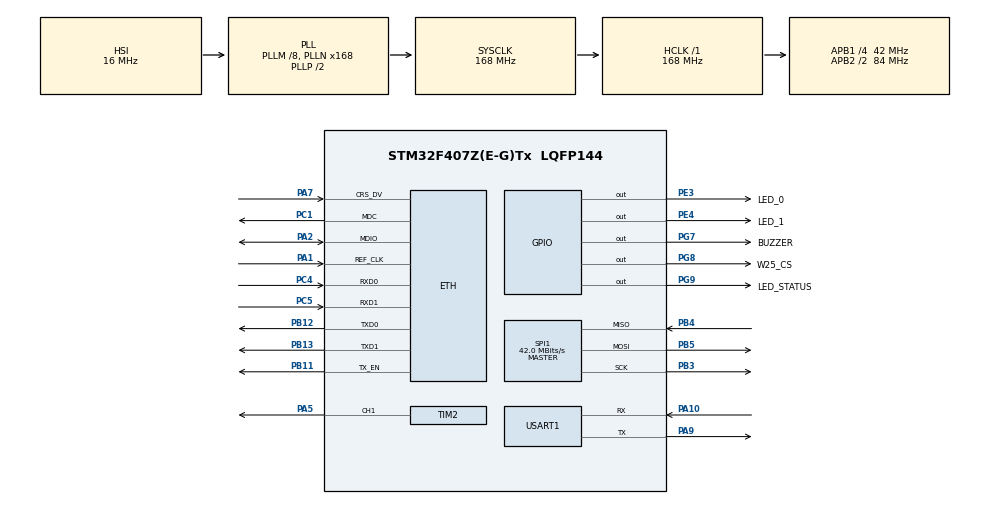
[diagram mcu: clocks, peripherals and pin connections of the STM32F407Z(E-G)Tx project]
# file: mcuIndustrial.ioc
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Dma.Request0=USART1_RX
Dma.USART1_RX.0.Direction=DMA_PERIPH_TO_MEMORY
Dma.USART1_RX.0.FIFOMode=DMA_FIFOMODE_DISABLE
Dma.USART1_RX.0.Instance=DMA2_Stream2
Dma.USART1_RX.0.MemDataAlignment=DMA_MDATAALIGN_BYTE
Dma.USART1_RX.0.MemInc=DMA_MINC_ENABLE
Dma.USART1_RX.0.Mode=DMA_NORMAL
Dma.USART1_RX.0.PeriphDataAlignment=DMA_PDATAALIGN_BYTE
Dma.USART1_RX.0.PeriphInc=DMA_PINC_DISABLE
Dma.USART1_RX.0.Priority=DMA_PRIORITY_LOW
ETH.MediaInterface=HAL_ETH_RMII_MODE
FREERTOS.Tasks01=defaultTask,24,128,StartDefaultTask,Default,NULL,Dynamic,NULL,NULL
FREERTOS.configTOTAL_HEAP_SIZE=15360 
FREERTOS.configUSE_NEWLIB_REENTRANT=1
Mcu.Family=STM32F4
Mcu.Name=STM32F407Z(E-G)Tx
Mcu.Package=LQFP144
NVIC.DMA2_Stream2_IRQn=true\:5\:0\:false\:false\:true\:true\:false\:true\:true
NVIC.ETH_IRQn=true\:5\:0\:false\:false\:true\:true\:true\:true\:true
NVIC.PriorityGroup=NVIC_PRIORITYGROUP_4
NVIC.TIM7_IRQn=true\:15\:0\:true\:false\:true\:false\:false\:true\:true
NVIC.TimeBase=TIM7_IRQn
NVIC.TimeBaseIP=TIM7
NVIC.USART1_IRQn=true\:5\:0\:false\:false\:true\:true\:true\:true\:true
PA0-WKUP.Mode=SYS_WakeUp0
PA0-WKUP.Signal=SYS_WKUP
PA1.Mode=RMII
PA1.Signal=ETH_REF_CLK
PA10.Mode=Asynchronous
PA10.Signal=USART1_RX
PA13.Mode=Serial_Wire
PA13.Signal=SYS_JTMS-SWDIO
PA14.Mode=Serial_Wire
PA14.Signal=SYS_JTCK-SWCLK
PA2.Mode=RMII
PA2.Signal=ETH_MDIO
PA5.Signal=S_TIM2_CH1_ETR
PA7.Mode=RMII
PA7.Signal=ETH_CRS_DV
PA9.Mode=Asynchronous
PA9.Signal=USART1_TX
PB11.Mode=RMII
PB11.Signal=ETH_TX_EN
PB12.Mode=RMII
PB12.Signal=ETH_TXD0
PB13.Mode=RMII
PB13.Signal=ETH_TXD1
PB3.Mode=Full_Duplex_Master
PB3.Signal=SPI1_SCK
PB4.Mode=Full_Duplex_Master
PB4.Signal=SPI1_MISO
PB5.Mode=Full_Duplex_Master
PB5.Signal=SPI1_MOSI
PC1.Mode=RMII
PC1.Signal=ETH_MDC
PC14-OSC32_IN.Mode=LSE-External-Oscillator
PC14-OSC32_IN.Signal=RCC_OSC32_IN
PC15-OSC32_OUT.Mode=LSE-External-Oscillator
PC15-OSC32_OUT.Signal=RCC_OSC32_OUT
PC4.Mode=RMII
PC4.Signal=ETH_RXD0
PC5.Mode=RMII
PC5.Signal=ETH_RXD1
PE3.GPIO_Label=LED_0
PE3.Signal=GPIO_Output
PE4.GPIO_Label=LED_1
PE4.Signal=GPIO_Output
PG7.GPIO_Label=BUZZER
PG7.Signal=GPIO_Output
PG8.GPIO_Label=W25_CS
PG8.Signal=GPIO_Output
PG9.GPIO_Label=LED_STATUS
PG9.Signal=GPIO_Output
ProjectManager.HeapSize=0x200
ProjectManager.StackSize=0x400
ProjectManager.TargetToolchain=STM32CubeIDE
RCC.48MHZClocksFreq_Value=84000000
RCC.AHBFreq_Value=168000000
RCC.APB1CLKDivider=RCC_HCLK_DIV4
RCC.APB1Freq_Value=42000000
RCC.APB1TimFreq_Value=84000000
RCC.APB2CLKDivider=RCC_HCLK_DIV2
RCC.APB2Freq_Value=84000000
RCC.APB2TimFreq_Value=168000000
RCC.CortexFreq_Value=168000000
RCC.HCLKFreq_Value=168000000
RCC.HSE_VALUE=26000000
RCC.HSI_VALUE=16000000
RCC.PLLM=8
RCC.PLLN=168
RCC.RCC_RTC_Clock_SourceVirtual=RCC_RTCCLKSOURCE_LSE
RCC.SYSCLKFreq_VALUE=168000000
RCC.SYSCLKSource=RCC_SYSCLKSOURCE_PLLCLK
RCC.VCOOutputFreq_Value=336000000
RTC.Date=12
RTC.Format=RTC_FORMAT_BIN
RTC.Month=RTC_MONTH_MAY
RTC.WeekDay=RTC_WEEKDAY_TUESDAY
RTC.Year=26
SH.S_TIM2_CH1_ETR.0=TIM2_CH1,PWM Generation1 CH1
SPI1.BaudRatePrescaler=SPI_BAUDRATEPRESCALER_2
SPI1.CalculateBaudRate=42.0 MBits/s
SPI1.Direction=SPI_DIRECTION_2LINES
SPI1.Mode=SPI_MODE_MASTER
SPI1.VirtualType=VM_MASTER
TIM2.Channel-PWM\ Generation1\ CH1=TIM_CHANNEL_1
USART1.VirtualMode=VM_ASYNC
VP_CRC_VS_CRC.Mode=CRC_Activate
VP_FREERTOS_VS_CMSIS_V2.Mode=CMSIS_V2
VP_RTC_VS_RTC_Activate.Mode=RTC_Enabled
VP_RTC_VS_RTC_Calendar.Mode=RTC_Calendar
VP_SYS_VS_tim7.Mode=TIM7
VP_TIM2_VS_ClockSourceINT.Mode=Internal
board=custom

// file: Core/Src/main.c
/* USER CODE BEGIN Header */
/**
  ******************************************************************************
  * @file           : main.c
  * @brief          : Main program body
  ******************************************************************************
  * @attention
  *
  * Copyright (c) 2026 STMicroelectronics.
  * All rights reserved.
  *
  * This software is licensed under terms that can be found in the LICENSE file
  * in the root directory of this software component.
  * If no LICENSE file comes with this software, it is provided AS-IS.
  *
  ******************************************************************************
  */
/* USER CODE END Header */
#include "main.h"
#include "string.h"
#include "cmsis_os.h"

/* USER CODE BEGIN Includes */

#include "stdio.h"

#include "srv/serial/inc/srv_serial.h"
#include "srv/heartbeat/inc/heartbeat.h"
#include "srv/littleFs/srv_lfs.h"

#include "app/bootloader/inc/bootloader.h"

/* USER CODE END Includes */

ETH_TxPacketConfig TxConfig;
ETH_DMADescTypeDef  DMARxDscrTab[ETH_RX_DESC_CNT]; /* Ethernet Rx DMA Descriptors */
ETH_DMADescTypeDef  DMATxDscrTab[ETH_TX_DESC_CNT]; /* Ethernet Tx DMA Descriptors */

CRC_HandleTypeDef hcrc;

ETH_HandleTypeDef heth;

RTC_HandleTypeDef hrtc;

SPI_HandleTypeDef hspi1;

TIM_HandleTypeDef htim2;

UART_HandleTypeDef huart1;
DMA_HandleTypeDef hdma_usart1_rx;

/* Definitions for defaultTask */
osThreadId_t defaultTaskHandle;
const osThreadAttr_t defaultTask_attributes = {
  .name = "defaultTask",
  .stack_size = 128 * 4,
  .priority = (osPriority_t) osPriorityNormal,
};
/* USER CODE BEGIN PV */

uint8_t aShowTime[50] = {0};
uint8_t aShowDate[50] = {0};

/* USER CODE END PV */

void SystemClock_Config(void);
static void MX_GPIO_Init(void);
static void MX_DMA_Init(void);
static void MX_USART1_UART_Init(void);
static void MX_RTC_Init(void);
static void MX_SPI1_Init(void);
static void MX_CRC_Init(void);
static void MX_TIM2_Init(void);
static void MX_ETH_Init(void);
void StartDefaultTask(void *argument);

/* USER CODE BEGIN PFP */

static void RTC_CalendarShow(uint8_t *showtime, uint8_t *showdate);

/* USER CODE END PFP */

int main(void)
{

  /* MCU Configuration--------------------------------------------------------*/

  /* Reset of all peripherals, Initializes the Flash interface and the Systick. */
  HAL_Init();

  /* Configure the system clock */
  SystemClock_Config();

  /* Initialize all configured peripherals */
  MX_GPIO_Init();
  MX_DMA_Init();
  MX_USART1_UART_Init();
  MX_RTC_Init();
  MX_SPI1_Init();
  MX_CRC_Init();
  MX_TIM2_Init();
  MX_ETH_Init();

  /* Init scheduler */
  osKernelInitialize();

  /* Create the thread(s) */
  /* creation of defaultTask */
  defaultTaskHandle = osThreadNew(StartDefaultTask, NULL, &defaultTask_attributes);

  /* USER CODE BEGIN RTOS_EVENTS */
  /* add events, ... */
  printf("=========== Start firmware ===============\r\n");
  srv_heartbeat_create();
  srv_littleFs_create();
  srv_serial_create();
  app_bootloader_create();

  /* USER CODE END RTOS_EVENTS */

  /* Start scheduler */
  osKernelStart();

  /* We should never get here as control is now taken by the scheduler */

  /* Infinite loop */
  while (1)
  {

    /* USER CODE BEGIN 3 */
	  HAL_GPIO_TogglePin(LED_0_GPIO_Port, LED_0_Pin);
	  HAL_GPIO_TogglePin(LED_1_GPIO_Port, LED_1_Pin);
	  HAL_Delay(500);

  }
  /* USER CODE END 3 */
}

void SystemClock_Config(void)
{
  RCC_OscInitTypeDef RCC_OscInitStruct = {0};
  RCC_ClkInitTypeDef RCC_ClkInitStruct = {0};

  /** Configure the main internal regulator output voltage
  */
  __HAL_RCC_PWR_CLK_ENABLE();
  __HAL_PWR_VOLTAGESCALING_CONFIG(PWR_REGULATOR_VOLTAGE_SCALE1);

  /** Initializes the RCC Oscillators according to the specified parameters
  * in the RCC_OscInitTypeDef structure.
  */
  RCC_OscInitStruct.OscillatorType = RCC_OSCILLATORTYPE_HSI|RCC_OSCILLATORTYPE_LSE;
  RCC_OscInitStruct.LSEState = RCC_LSE_ON;
  RCC_OscInitStruct.HSIState = RCC_HSI_ON;
  RCC_OscInitStruct.HSICalibrationValue = RCC_HSICALIBRATION_DEFAULT;
  RCC_OscInitStruct.PLL.PLLState = RCC_PLL_ON;
  RCC_OscInitStruct.PLL.PLLSource = RCC_PLLSOURCE_HSI;
  RCC_OscInitStruct.PLL.PLLM = 8;
  RCC_OscInitStruct.PLL.PLLN = 168;
  RCC_OscInitStruct.PLL.PLLP = RCC_PLLP_DIV2;
  RCC_OscInitStruct.PLL.PLLQ = 4;
  if (HAL_RCC_OscConfig(&RCC_OscInitStruct) != HAL_OK)
  {
    Error_Handler();
  }

  /** Initializes the CPU, AHB and APB buses clocks
  */
  RCC_ClkInitStruct.ClockType = RCC_CLOCKTYPE_HCLK|RCC_CLOCKTYPE_SYSCLK
                              |RCC_CLOCKTYPE_PCLK1|RCC_CLOCKTYPE_PCLK2;
  RCC_ClkInitStruct.SYSCLKSource = RCC_SYSCLKSOURCE_PLLCLK;
  RCC_ClkInitStruct.AHBCLKDivider = RCC_SYSCLK_DIV1;
  RCC_ClkInitStruct.APB1CLKDivider = RCC_HCLK_DIV4;
  RCC_ClkInitStruct.APB2CLKDivider = RCC_HCLK_DIV2;

  if (HAL_RCC_ClockConfig(&RCC_ClkInitStruct, FLASH_LATENCY_5) != HAL_OK)
  {
    Error_Handler();
  }
}

static void MX_CRC_Init(void)
{

  hcrc.Instance = CRC;
  if (HAL_CRC_Init(&hcrc) != HAL_OK)
  {
    Error_Handler();
  }

}

static void MX_ETH_Init(void)
{

   static uint8_t MACAddr[6];

  heth.Instance = ETH;
  MACAddr[0] = 0x00;
  MACAddr[1] = 0x80;
  MACAddr[2] = 0xE1;
  MACAddr[3] = 0x00;
  MACAddr[4] = 0x00;
  MACAddr[5] = 0x00;
  heth.Init.MACAddr = &MACAddr[0];
  heth.Init.MediaInterface = HAL_ETH_RMII_MODE;
  heth.Init.TxDesc = DMATxDscrTab;
  heth.Init.RxDesc = DMARxDscrTab;
  heth.Init.RxBuffLen = 1524;

  if (HAL_ETH_Init(&heth) != HAL_OK)
  {
    Error_Handler();
  }

  memset(&TxConfig, 0 , sizeof(ETH_TxPacketConfig));
  TxConfig.Attributes = ETH_TX_PACKETS_FEATURES_CSUM | ETH_TX_PACKETS_FEATURES_CRCPAD;
  TxConfig.ChecksumCtrl = ETH_CHECKSUM_IPHDR_PAYLOAD_INSERT_PHDR_CALC;
  TxConfig.CRCPadCtrl = ETH_CRC_PAD_INSERT;

}

static void MX_RTC_Init(void)
{

  RTC_TimeTypeDef sTime = {0};
  RTC_DateTypeDef sDate = {0};

  /** Initialize RTC Only
  */
  hrtc.Instance = RTC;
  hrtc.Init.HourFormat = RTC_HOURFORMAT_24;
  hrtc.Init.AsynchPrediv = 127;
  hrtc.Init.SynchPrediv = 255;
  hrtc.Init.OutPut = RTC_OUTPUT_DISABLE;
  hrtc.Init.OutPutPolarity = RTC_OUTPUT_POLARITY_HIGH;
  hrtc.Init.OutPutType = RTC_OUTPUT_TYPE_OPENDRAIN;
  if (HAL_RTC_Init(&hrtc) != HAL_OK)
  {
    Error_Handler();
  }

  /** Initialize RTC and set the Time and Date
  */
  sTime.Hours = 0;
  sTime.Minutes = 0;
  sTime.Seconds = 0;
  sTime.DayLightSaving = RTC_DAYLIGHTSAVING_NONE;
  sTime.StoreOperation = RTC_STOREOPERATION_RESET;
  if (HAL_RTC_SetTime(&hrtc, &sTime, RTC_FORMAT_BIN) != HAL_OK)
  {
    Error_Handler();
  }
  sDate.WeekDay = RTC_WEEKDAY_TUESDAY;
  sDate.Month = RTC_MONTH_MAY;
  sDate.Date = 12;
  sDate.Year = 26;

  if (HAL_RTC_SetDate(&hrtc, &sDate, RTC_FORMAT_BIN) != HAL_OK)
  {
    Error_Handler();
  }
  /* USER CODE BEGIN RTC_Init 2 */
  HAL_RTCEx_BKUPWrite(&hrtc, RTC_BKP_DR1, 0x32F2);

  if(HAL_RTCEx_BKUPRead(&hrtc, RTC_BKP_DR1) != 0x32F2)
  {
    /* Configure RTC Calendar */
//    RTC_CalendarConfig();
  }

  /* USER CODE END RTC_Init 2 */

}

static void MX_SPI1_Init(void)
{

  /* SPI1 parameter configuration*/
  hspi1.Instance = SPI1;
  hspi1.Init.Mode = SPI_MODE_MASTER;
  hspi1.Init.Direction = SPI_DIRECTION_2LINES;
  hspi1.Init.DataSize = SPI_DATASIZE_8BIT;
  hspi1.Init.CLKPolarity = SPI_POLARITY_LOW;
  hspi1.Init.CLKPhase = SPI_PHASE_1EDGE;
  hspi1.Init.NSS = SPI_NSS_SOFT;
  hspi1.Init.BaudRatePrescaler = SPI_BAUDRATEPRESCALER_2;
  hspi1.Init.FirstBit = SPI_FIRSTBIT_MSB;
  hspi1.Init.TIMode = SPI_TIMODE_DISABLE;
  hspi1.Init.CRCCalculation = SPI_CRCCALCULATION_DISABLE;
  hspi1.Init.CRCPolynomial = 10;
  if (HAL_SPI_Init(&hspi1) != HAL_OK)
  {
    Error_Handler();
  }

}

static void MX_TIM2_Init(void)
{

  TIM_ClockConfigTypeDef sClockSourceConfig = {0};
  TIM_MasterConfigTypeDef sMasterConfig = {0};
  TIM_OC_InitTypeDef sConfigOC = {0};

  htim2.Instance = TIM2;
  htim2.Init.Prescaler = 0;
  htim2.Init.CounterMode = TIM_COUNTERMODE_UP;
  htim2.Init.Period = 4294967295;
  htim2.Init.ClockDivision = TIM_CLOCKDIVISION_DIV1;
  htim2.Init.AutoReloadPreload = TIM_AUTORELOAD_PRELOAD_DISABLE;
  if (HAL_TIM_Base_Init(&htim2) != HAL_OK)
  {
    Error_Handler();
  }
  sClockSourceConfig.ClockSource = TIM_CLOCKSOURCE_INTERNAL;
  if (HAL_TIM_ConfigClockSource(&htim2, &sClockSourceConfig) != HAL_OK)
  {
    Error_Handler();
  }
  if (HAL_TIM_PWM_Init(&htim2) != HAL_OK)
  {
    Error_Handler();
  }
  sMasterConfig.MasterOutputTrigger = TIM_TRGO_RESET;
  sMasterConfig.MasterSlaveMode = TIM_MASTERSLAVEMODE_DISABLE;
  if (HAL_TIMEx_MasterConfigSynchronization(&htim2, &sMasterConfig) != HAL_OK)
  {
    Error_Handler();
  }
  sConfigOC.OCMode = TIM_OCMODE_PWM1;
  sConfigOC.Pulse = 0;
  sConfigOC.OCPolarity = TIM_OCPOLARITY_HIGH;
  sConfigOC.OCFastMode = TIM_OCFAST_DISABLE;
  if (HAL_TIM_PWM_ConfigChannel(&htim2, &sConfigOC, TIM_CHANNEL_1) != HAL_OK)
  {
    Error_Handler();
  }
  HAL_TIM_MspPostInit(&htim2);

}

static void MX_USART1_UART_Init(void)
{

  huart1.Instance = USART1;
  huart1.Init.BaudRate = 115200;
  huart1.Init.WordLength = UART_WORDLENGTH_8B;
  huart1.Init.StopBits = UART_STOPBITS_1;
  huart1.Init.Parity = UART_PARITY_NONE;
  huart1.Init.Mode = UART_MODE_TX_RX;
  huart1.Init.HwFlowCtl = UART_HWCONTROL_NONE;
  huart1.Init.OverSampling = UART_OVERSAMPLING_16;
  if (HAL_UART_Init(&huart1) != HAL_OK)
  {
    Error_Handler();
  }

}

static void MX_DMA_Init(void)
{

  /* DMA controller clock enable */
  __HAL_RCC_DMA2_CLK_ENABLE();

  /* DMA interrupt init */
  /* DMA2_Stream2_IRQn interrupt configuration */
  HAL_NVIC_SetPriority(DMA2_Stream2_IRQn, 5, 0);
  HAL_NVIC_EnableIRQ(DMA2_Stream2_IRQn);

}

static void MX_GPIO_Init(void)
{
  GPIO_InitTypeDef GPIO_InitStruct = {0};

  /* GPIO Ports Clock Enable */
  __HAL_RCC_GPIOE_CLK_ENABLE();
  __HAL_RCC_GPIOC_CLK_ENABLE();
  __HAL_RCC_GPIOA_CLK_ENABLE();
  __HAL_RCC_GPIOB_CLK_ENABLE();
  __HAL_RCC_GPIOG_CLK_ENABLE();

  /*Configure GPIO pin Output Level */
  HAL_GPIO_WritePin(GPIOE, LED_0_Pin|LED_1_Pin, GPIO_PIN_RESET);

  /*Configure GPIO pin Output Level */
  HAL_GPIO_WritePin(GPIOG, BUZZER_Pin|W25_CS_Pin|LED_STATUS_Pin, GPIO_PIN_RESET);

  /*Configure GPIO pins : LED_0_Pin LED_1_Pin */
  GPIO_InitStruct.Pin = LED_0_Pin|LED_1_Pin;
  GPIO_InitStruct.Mode = GPIO_MODE_OUTPUT_PP;
  GPIO_InitStruct.Pull = GPIO_NOPULL;
  GPIO_InitStruct.Speed = GPIO_SPEED_FREQ_LOW;
  HAL_GPIO_Init(GPIOE, &GPIO_InitStruct);

  /*Configure GPIO pins : BUZZER_Pin W25_CS_Pin LED_STATUS_Pin */
  GPIO_InitStruct.Pin = BUZZER_Pin|W25_CS_Pin|LED_STATUS_Pin;
  GPIO_InitStruct.Mode = GPIO_MODE_OUTPUT_PP;
  GPIO_InitStruct.Pull = GPIO_NOPULL;
  GPIO_InitStruct.Speed = GPIO_SPEED_FREQ_LOW;
  HAL_GPIO_Init(GPIOG, &GPIO_InitStruct);

}

/* USER CODE BEGIN 4 */
/**
  * @brief  Display the current time and date.
  * @param  showtime: pointer to buffer
  * @param  showdate: pointer to buffer
  * @retval None
  */
static void RTC_CalendarShow(uint8_t *showtime, uint8_t *showdate)
{
  RTC_DateTypeDef sdatestructureget;
  RTC_TimeTypeDef stimestructureget;

  /* Get the RTC current Time */
  HAL_RTC_GetTime(&hrtc, &stimestructureget, RTC_FORMAT_BIN);
  /* Get the RTC current Date */
  HAL_RTC_GetDate(&hrtc, &sdatestructureget, RTC_FORMAT_BIN);

#if 1
  /* Display time Format: hh:mm:ss */
  sprintf((char*)showtime,"%02d:%02d:%02d",stimestructureget.Hours, stimestructureget.Minutes, stimestructureget.Seconds);
  /* Display date Format: mm-dd-yy */
  sprintf((char*)showdate,"%02d-%02d-%02d",sdatestructureget.Month, sdatestructureget.Date, 2000 + sdatestructureget.Year);
#endif
}

/**
  * @brief  Configure the current time and date.
  * @param  None
  * @retval None
  */
//static void RTC_CalendarConfig(void)
//{
//  RTC_DateTypeDef sdatestructure;
//  RTC_TimeTypeDef stimestructure;
//
//  /*##-1- Configure the Date #################################################*/
//  /* Set Date: Tuesday April 14th 2015 */
//  sdatestructure.Year = 0x26;
//  sdatestructure.Month = RTC_MONTH_MAY;
//  sdatestructure.Date = 0x12;
//  sdatestructure.WeekDay = RTC_WEEKDAY_TUESDAY;
//
//  if(HAL_RTC_SetDate(&RtcHandle,&sdatestructure,RTC_FORMAT_BIN) != HAL_OK)
//  {
//    /* Initialization Error */
//    Error_Handler();
//  }
//
//  /*##-2- Configure the Time #################################################*/
//  /* Set Time: 02:00:00 */
//  stimestructure.Hours = 0x02;
//  stimestructure.Minutes = 0x00;
//  stimestructure.Seconds = 0x00;
//  stimestructure.TimeFormat = RTC_HOURFORMAT12_AM;
//  stimestructure.DayLightSaving = RTC_DAYLIGHTSAVING_NONE;
//  stimestructure.StoreOperation = RTC_STOREOPERATION_RESET;
//
//  if(HAL_RTC_SetTime(&RtcHandle,&stimestructure,RTC_FORMAT_BIN) != HAL_OK)
//  {
//    /* Initialization Error */
//    Error_Handler();
//  }
//
//  /*##-3- Writes a data in a RTC Backup data Register1 #######################*/
//  HAL_RTCEx_BKUPWrite(&RtcHandle, RTC_BKP_DR1, 0x32F2);
//}
/* USER CODE END 4 */

void StartDefaultTask(void *argument)
{
  /* USER CODE BEGIN 5 */
  /* Infinite loop */
  for(;;)
  {
	  RTC_CalendarShow(aShowTime, aShowDate);
	  printf("Current Date: %s\r\n", aShowDate);
	  printf("Current Time: %s\r\n", aShowTime);
	  osDelay(1000);
  }
  /* USER CODE END 5 */
}

void HAL_TIM_PeriodElapsedCallback(TIM_HandleTypeDef *htim)
{
  if (htim->Instance == TIM7)
  {
    HAL_IncTick();
  }
}

void Error_Handler(void)
{
  __disable_irq();
  while (1)
  {
  }
}
